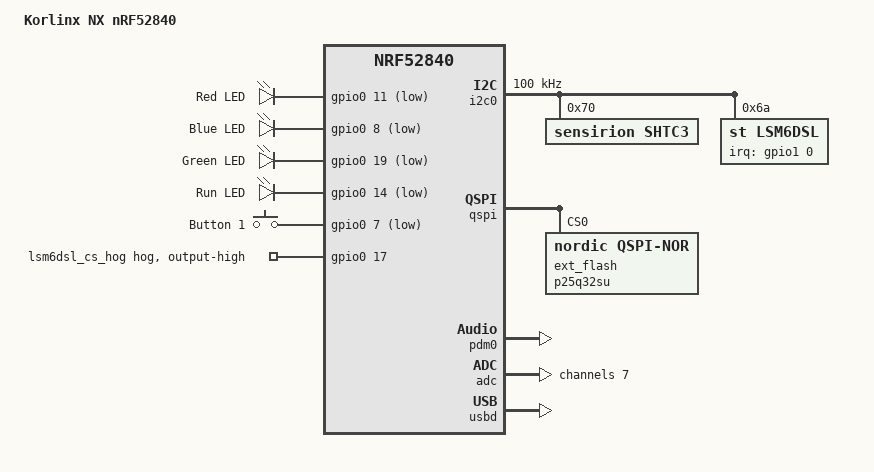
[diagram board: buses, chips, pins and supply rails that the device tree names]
/*
 * Copyright (c) 2026 Korlinx
 *
 * SPDX-License-Identifier: Apache-2.0
 */

/dts-v1/;

#include <nordic/nrf52840_qiaa.dtsi>
#include <nordic/nrf52840_partition_uf2_sdv6.dtsi>
#include <zephyr/dt-bindings/gpio/gpio.h>
#include <zephyr/dt-bindings/input/input-event-codes.h>
#include <zephyr/dt-bindings/i2c/i2c.h>
#include <zephyr/dt-bindings/adc/adc.h>
#include <zephyr/dt-bindings/adc/nrf-saadc.h>
#include "nx40_nrf52840-pinctrl.dtsi"

/ {
	model = "Korlinx NX nRF52840";
	compatible = "korlinx,nx40";

	leds {
		compatible = "gpio-leds";

		led_red: led_0 {
			gpios = <&gpio0 11 GPIO_ACTIVE_LOW>;
			label = "Red LED";
		};

		led_blue: led_1 {
			gpios = <&gpio0 8 GPIO_ACTIVE_LOW>;
			label = "Blue LED";
		};

		led_green: led_2 {
			gpios = <&gpio0 19 GPIO_ACTIVE_LOW>;
			label = "Green LED";
		};

		led_run: led_3 {
			gpios = <&gpio0 14 GPIO_ACTIVE_LOW>;
			label = "Run LED";
		};
	};

	buttons {
		compatible = "gpio-keys";

		button1: button_1 {
			gpios = <&gpio0 7 (GPIO_PULL_UP | GPIO_ACTIVE_LOW)>;
			label = "Button 1";
			zephyr,code = <INPUT_KEY_0>;
		};
	};

	aliases {
		led0 = &led_red;
		led1 = &led_blue;
		led2 = &led_green;
		led3 = &led_run;
		sw0 = &button1;
		dht0 = &shtc3;
		watchdog0 = &wdt0;
	};
};

&reg1 {
	regulator-initial-mode = <NRF5X_REG_MODE_LDO>;
};

&uicr {
	gpio-as-nreset;
};

&gpiote {
	status = "okay";
};

&gpio1 {
	status = "okay";
};

&gpio0 {
	status = "okay";

	lsm6dsl_cs_hog {
		gpio-hog;
		gpios = <17 GPIO_ACTIVE_HIGH>;
		output-high;
	};
};

&i2c0 {
	status = "okay";
	pinctrl-0 = <&i2c0_default>;
	pinctrl-1 = <&i2c0_sleep>;
	pinctrl-names = "default", "sleep";
	clock-frequency = <I2C_BITRATE_STANDARD>;

	shtc3: shtc3@70 {
		compatible = "sensirion,shtc3", "sensirion,shtcx";
		status = "okay";
		reg = <0x70>;
		measure-mode = "normal";
		clock-stretching;
	};

	lsm6dsl: lsm6dsl@6a {
		compatible = "st,lsm6dsl";
		status = "okay";
		reg = <0x6a>;
		irq-gpios = <&gpio1 0 GPIO_ACTIVE_HIGH>;
	};
};

&qspi {
	status = "okay";
	pinctrl-0 = <&qspi_default>;
	pinctrl-1 = <&qspi_sleep>;
	pinctrl-names = "default", "sleep";

	ext_flash: p25q32su@0 {
		compatible = "nordic,qspi-nor";
		reg = <0>;
		writeoc = "pp4o";
		readoc = "read4io";
		quad-enable-requirements = "S2B1v1";
		sck-frequency = <24000000>;
		jedec-id = [85 60 16];
		size = <33554432>;
		has-dpd;
		t-enter-dpd = <3000>;
		t-exit-dpd = <8000>;
		sfdp-bfp = [
			e5 20 f9 ff  ff ff ff 01  44 eb 08 6b  08 3b 80 bb
			fe ff ff ff  ff ff 00 ff  ff ff 44 eb  0c 20 0f 52
			10 d8 08 81  ff ff ff ff  ff ff ff ff  ff ff ff ff
			ff ff ff ff  ff ff ff ff  00 00 20 00  ff ff ff ff
		];
	};
};

dmic_dev: &pdm0 {
	status = "okay";
	pinctrl-0 = <&pdm0_default>;
	pinctrl-names = "default";
	clock-source = "PCLK32M_HFXO";
};

&adc {
	status = "okay";
	#address-cells = <1>;
	#size-cells = <0>;

	vbat_channel: channel@7 {
		reg = <7>;
		zephyr,gain = "ADC_GAIN_1_6";
		zephyr,reference = "ADC_REF_INTERNAL";
		zephyr,acquisition-time = <ADC_ACQ_TIME_DEFAULT>;
		zephyr,input-positive = <NRF_SAADC_AIN7>;
		zephyr,resolution = <12>;
	};
};

zephyr_udc0: &usbd {
	compatible = "nordic,nrf-usbd";
	status = "okay";
};

#include <../boards/common/usb/cdc_acm_serial.dtsi>
